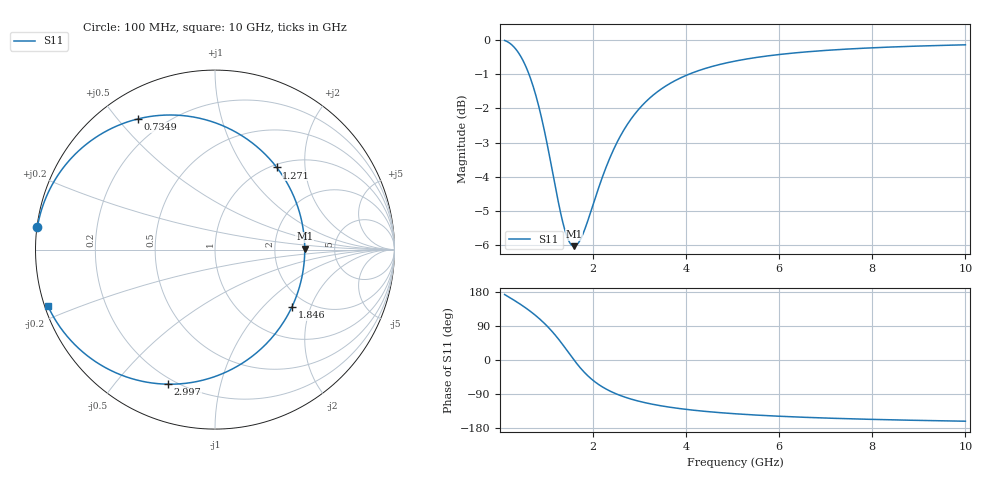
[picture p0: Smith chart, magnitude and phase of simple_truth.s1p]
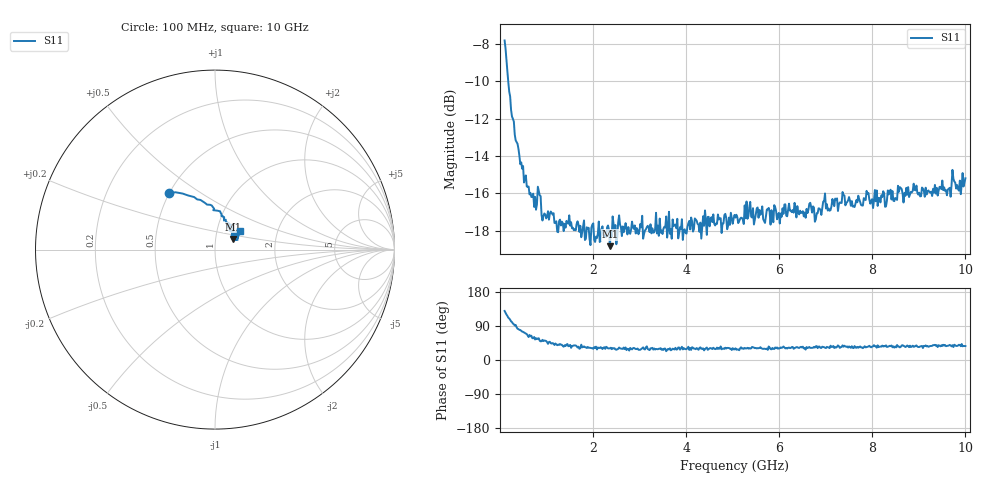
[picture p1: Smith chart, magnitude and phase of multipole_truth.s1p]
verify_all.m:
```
% verify_all.m
clear; clc; close all;
addpath(fullfile(pwd, 'generators'));
addpath(fullfile(pwd, 'solvers'));

if ~exist('data', 'dir'), mkdir('data'); end
if ~exist('output', 'dir'), mkdir('output'); end

fprintf('Starting Comprehensive Validation...\n');

% 1. Create Target Files
disp('Generating synthetic targets...');
if exist('data/simple_truth.s1p', 'file'), delete('data/simple_truth.s1p'); end
target_simple = generate_synthetic('simple_truth.s1p');

if exist('data/multipole_truth.s1p', 'file'), delete('data/multipole_truth.s1p'); end
target_multi = generate_synthetic_multipole('multipole_truth.s1p');

target_ring = 'data/ring slot.s2p';

% 2. Run Matrix Tests
runs = {
    {target_simple, 'solve_inverse_passive', 'simple_synth_blackbox'},
    {target_simple, 'solve_inverse_physical', 'simple_synth_physical'},
    {target_multi, 'solve_inverse_passive', 'multi_synth_blackbox'},
    {target_multi, 'solve_inverse_physical', 'multi_synth_physical'},
    {target_ring, 'solve_inverse_passive', 'ring_data_blackbox'},
    {target_ring, 'solve_inverse_physical', 'ring_data_physical'}
};

for i = 1:length(runs)
    r = runs{i};
    target = r{1};
    solver = r{2};
    out_name = r{3};
    
    fprintf('\n----------------------------------------\n');
    fprintf('RUNNING TEST %d: %s \ngoing to %s\n', i, target, out_name);
    try
        if strcmp(solver, 'solve_inverse_passive')
            solve_inverse_passive(target, out_name);
        else
            solve_inverse_physical(target, out_name);
        end
        fprintf('SUCCESS: %s\n', out_name);
    catch ME
        fprintf('FAILED: %s - %s\n', out_name, ME.message);
    end
end
fprintf('\nALL TESTS EXECUTED.\n');
```
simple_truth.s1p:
# GHz S RI R 50
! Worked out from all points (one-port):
!   500 points, 100 MHz to 10 GHz, reference 50 ohm
!   lowest |S11| = -6.0 dB at 1.588 GHz (marker M1), VSWR 3.00, Z = 150 + j2.02 ohm
!   |S11| at or under -10 dB: nowhere
!   S11 on the Smith chart (normalised r, x): 100 MHz: 0.00, +0.06; 734.9 MHz: 0.11, +0.57; 1.271 GHz: 1.05, +1.43; 1.846 GHz: 1.67, -1.49; 2.997 GHz: 0.17, -0.70; 10 GHz: 0.01, -0.16
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0.1  -0.9895 0.1253
0.4174349  -0.8146 0.4937
0.7348697  -0.4304 0.728
0.9927856  -0.0256 0.7157
1.270541  0.3439 0.458
1.587976  0.5 0.00506
1.845892  0.4288 -0.3189
2.083968  0.2848 -0.5258
2.341884  0.1089 -0.6586
2.996593  -0.2603 -0.7499
3.413226  -0.4196 -0.7306
4.722645  -0.6934 -0.6049
6.706613  -0.8484 -0.4521
10  -0.9321 -0.3118
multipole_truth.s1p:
# GHz S RI R 50
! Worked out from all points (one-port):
!   500 points, 100 MHz to 10 GHz, reference 50 ohm
!   lowest |S11| = -18.8 dB at 2.362 GHz (marker M1), VSWR 1.26, Z = 60.4 + j7.17 ohm
!   |S11| at or under -10 dB: 178 MHz to end of sweep
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0.1  -0.2585 0.3145
0.2190381  -0.0806 0.2766
0.3380762  -0.00968 0.2196
0.5563126  0.0599 0.1666
0.7348697  0.0714 0.1271
0.8340681  0.0867 0.1353
0.9332665  0.0887 0.1055
1.111824  0.1021 0.0965
1.211022  0.1004 0.088
2.361723  0.0984 0.0585
3.413226  0.106 0.0605
6.706613  0.1192 0.075
6.805812  0.1124 0.0838
10  0.1394 0.1041
